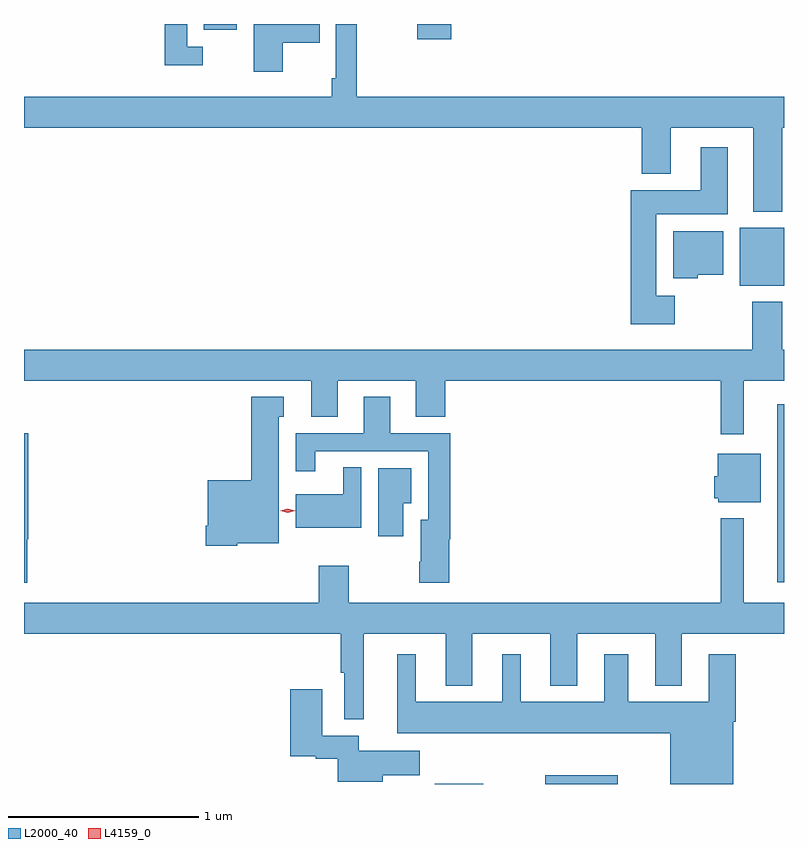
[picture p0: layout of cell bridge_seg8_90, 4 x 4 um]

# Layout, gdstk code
import gdstk
lib = gdstk.Library(unit=1e-6, precision=1e-09)
def R(c, l, rs):  # rectangles x0, y0, x1, y1
    for r in rs: c.add(gdstk.rectangle(r[:2], r[2:], *l))
def P(c, l, *ps):  # polygons
    for p in ps: c.add(gdstk.Polygon(p, *l))
L2000_40 = (2000, 40)
L4159_0 = (4159, 0)

bridge_seg8_90 = lib.new_cell('bridge_seg8_90')
R(bridge_seg8_90, L2000_40, [(869.084,1118.374,869.464,1118.419), (870.305,1119.437,870.34,1120.372), (870.107,1120.997,870.34,1121.302), (868.411,1122.294,868.589,1122.374), (867.287,1122.344,867.46,1122.374)])
P(bridge_seg8_90, L2000_40, [(867.28,1122.255),(867.198,1122.255),(867.198,1122.374),(867.082,1122.374),(867.082,1122.158),(867.28,1122.158)],
  [(870.332,1121.828),(870.34,1121.828),(870.34,1121.992),(868.09,1121.992),(868.09,1122.374),(867.981,1122.374),(867.981,1122.088),(867.961,1122.088),(867.961,1121.992),(866.34,1121.992),(866.34,1121.828),(869.591,1121.828),(869.591,1121.585),(869.743,1121.585),(869.743,1121.828),(870.179,1121.828),(870.179,1121.387),(870.332,1121.387)],
  [(867.703,1122.275),(867.896,1122.275),(867.896,1122.374),(867.548,1122.374),(867.548,1122.123),(867.703,1122.123)],
  [(869.764,1120.945),(869.668,1120.945),(869.668,1121.372),(870.043,1121.372),(870.043,1121.725),(869.903,1121.725),(869.903,1121.5),(869.534,1121.5),(869.534,1120.793),(869.764,1120.793)],
  [(869.886,1121.054),(870.019,1121.054),(870.019,1121.284),(869.756,1121.284),(869.756,1121.036),(869.886,1121.036)],
  [(870.127,1120.496),(870.34,1120.496),(870.34,1120.66),(870.332,1120.66),(870.332,1120.912),(870.172,1120.912),(870.172,1120.66),(866.34,1120.66),(866.34,1120.496),(867.851,1120.496),(867.851,1120.306),(867.991,1120.306),(867.991,1120.496),(868.403,1120.496),(868.403,1120.306),(868.556,1120.306),(868.556,1120.496),(870.006,1120.496),(870.006,1120.215),(870.127,1120.215)],
  [(867.462,1119.641),(867.682,1119.641),(867.682,1120.308),(867.706,1120.308),(867.706,1120.411),(867.536,1120.411),(867.536,1119.973),(867.308,1119.973),(867.308,1119.733),(867.296,1119.733),(867.296,1119.629),(867.462,1119.629)],
  [(868.577,1119.662),(868.583,1119.662),(868.583,1120.221),(868.267,1120.221),(868.267,1120.411),(868.127,1120.411),(868.127,1120.221),(867.77,1120.221),(867.77,1120.02),(867.874,1120.02),(867.874,1120.125),(868.467,1120.125),(868.467,1119.766),(868.427,1119.766),(868.427,1119.544),(868.42,1119.544),(868.42,1119.432),(868.577,1119.432)],
  [(866.357,1119.662),(866.363,1119.662),(866.363,1120.221),(866.34,1120.221),(866.34,1119.432),(866.357,1119.432)],
  [(870.217,1120.111),(869.99,1120.111),(869.99,1119.993),(869.972,1119.993),(869.972,1119.879),(869.994,1119.879),(869.994,1119.857),(870.217,1119.857)],
  [(868.116,1120.04),(868.019,1120.04),(868.019,1119.898),(867.77,1119.898),(867.77,1119.722),(868.116,1119.722)],
  [(868.336,1119.851),(868.378,1119.851),(868.378,1120.036),(868.205,1120.036),(868.205,1119.678),(868.336,1119.678)],
  [(868.129,1119.164),(868.559,1119.164),(868.559,1118.891),(868.699,1118.891),(868.699,1119.164),(869.111,1119.164),(869.111,1118.891),(869.251,1118.891),(869.251,1119.164),(869.663,1119.164),(869.663,1118.891),(869.803,1118.891),(869.803,1119.164),(870.34,1119.164),(870.34,1119.328),(870.127,1119.328),(870.127,1119.772),(870.006,1119.772),(870.006,1119.328),(868.05,1119.328),(868.05,1119.523),(867.89,1119.523),(867.89,1119.328),(866.34,1119.328),(866.34,1119.164),(868.008,1119.164),(868.008,1118.959),(868.025,1118.959),(868.025,1118.715),(868.129,1118.715)],
  [(870.073,1118.702),(870.086,1118.702),(870.086,1119.058),(869.945,1119.058),(869.945,1118.806),(869.521,1118.806),(869.521,1119.058),(869.393,1119.058),(869.393,1118.806),(868.954,1118.806),(868.954,1119.058),(868.856,1119.058),(868.856,1118.806),(868.402,1118.806),(868.402,1119.058),(868.304,1119.058),(868.304,1118.642),(869.741,1118.642),(869.741,1118.374),(870.073,1118.374)],
  [(868.228,1118.419),(868.423,1118.419),(868.423,1118.548),(868.102,1118.548),(868.102,1118.629),(867.91,1118.629),(867.91,1118.872),(867.74,1118.872),(867.74,1118.519),(867.876,1118.519),(867.876,1118.507),(867.992,1118.507),(867.992,1118.387),(868.228,1118.387)],
  [(868.757,1118.375),(868.502,1118.375),(868.501,1118.374),(868.757,1118.374)])
P(bridge_seg8_90, L4159_0, [(867.728,1119.802),(867.688,1119.812),(867.688,1119.812),(867.688,1119.812),(867.728,1119.822),(867.768,1119.812),(867.768,1119.812),(867.768,1119.812)])

lib.write_gds('bridge_seg8_90.gds')
